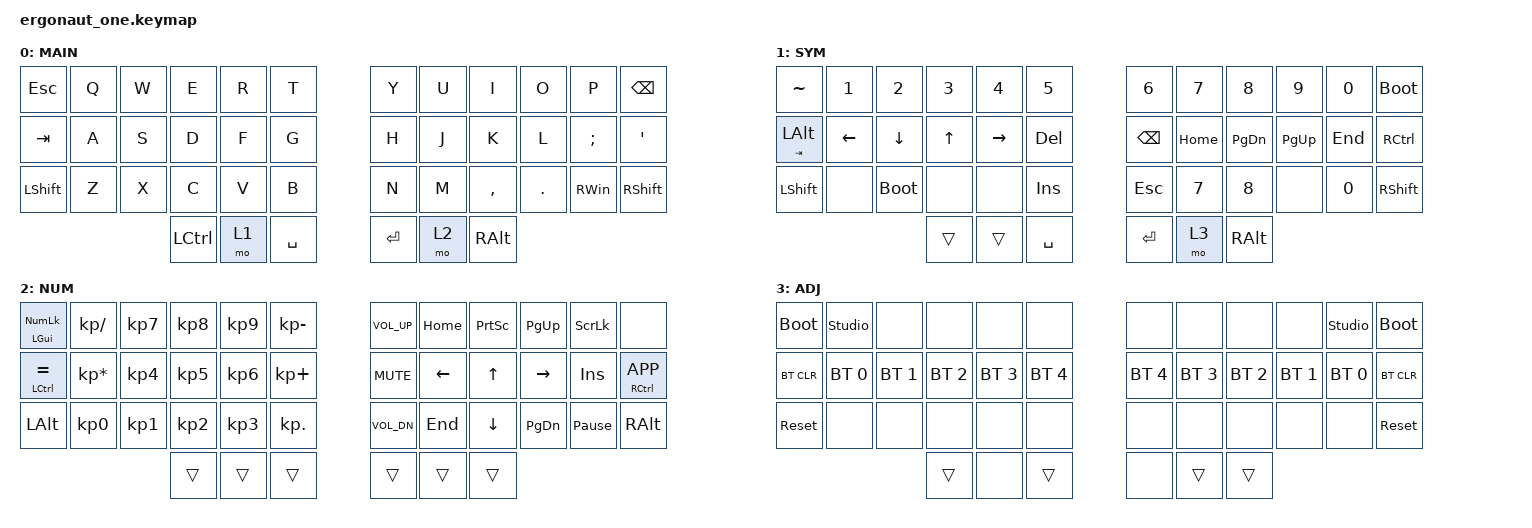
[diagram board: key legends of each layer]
#include <behaviors.dtsi>
#include <dt-bindings/zmk/bt.h>
#include <dt-bindings/zmk/keys.h>

#define DEF 0
#define LWR 1
#define RSE 2
#define ADJ 3

&lt { quick-tap-ms = <200>; };

&mt { quick-tap-ms = <200>; };

/ {
    conditional_layers { compatible = "zmk,conditional-layers"; };

    keymap {
        compatible = "zmk,keymap";

        default_layer {
            display-name = "MAIN";
            bindings = <
&kp ESC     &kp Q  &kp W  &kp E      &kp R  &kp T      &kp Y      &kp U  &kp I          &kp O    &kp P          &kp BACKSPACE
&kp TAB     &kp A  &kp S  &kp D      &kp F  &kp G      &kp H      &kp J  &kp K          &kp L    &kp SEMI       &kp SINGLE_QUOTE
&kp LSHIFT  &kp Z  &kp X  &kp C      &kp V  &kp B      &kp N      &kp M  &kp COMMA      &kp DOT  &kp RIGHT_WIN  &kp RSHIFT
                          &kp LCTRL  &mo 1  &kp SPACE  &kp ENTER  &mo 2  &kp RIGHT_ALT
            >;
        };

        lower_layer {
            display-name = "SYM";
            bindings = <
&kp TILDE         &kp NUMBER_1    &kp NUMBER_2    &kp NUMBER_3  &kp NUMBER_4  &kp N5      &kp NUMBER_6   &kp N7    &kp N8         &kp N9       &kp N0   &bootloader
&mt TAB LEFT_ALT  &kp LEFT_ARROW  &kp DOWN_ARROW  &kp UP_ARROW  &kp RIGHT     &kp DELETE  &kp BACKSPACE  &kp HOME  &kp PAGE_DOWN  &kp PAGE_UP  &kp END  &kp RCTRL
&kp LSHIFT        &none           &bootloader     &none         &none         &kp INSERT  &kp ESCAPE     &kp N7    &kp N8         &none        &kp N0   &kp RSHIFT
                                                  &trans        &trans        &kp SPACE   &kp ENTER      &mo 3     &kp RIGHT_ALT
            >;
        };

        raise_layer {
            display-name = "NUM";
            bindings = <
&mt LGUI KP_NUM  &kp KP_SLASH     &kp KP_N7  &kp KP_N8  &kp KP_N9  &kp KP_MINUS  &kp C_VOL_UP  &kp HOME  &kp PSCRN  &kp PG_UP  &kp SLCK         &none
&mt LCTRL EQUAL  &kp KP_MULTIPLY  &kp KP_N4  &kp KP_N5  &kp KP_N6  &kp KP_PLUS   &kp C_MUTE    &kp LEFT  &kp UP     &kp RIGHT  &kp INS          &mt RCTRL K_APP
&kp LALT         &kp KP_N0        &kp KP_N1  &kp KP_N2  &kp KP_N3  &kp KP_DOT    &kp C_VOL_DN  &kp END   &kp DOWN   &kp PG_DN  &kp PAUSE_BREAK  &kp RALT
                                             &trans     &trans     &trans        &trans        &trans    &trans
            >;
        };

        adjust_layer {
            display-name = "ADJ";
            bindings = <
&bootloader  &studio_unlock  &none         &none         &none         &none         &none         &none         &none         &none         &studio_unlock  &bootloader
&bt BT_CLR   &bt BT_SEL 0    &bt BT_SEL 1  &bt BT_SEL 2  &bt BT_SEL 3  &bt BT_SEL 4  &bt BT_SEL 4  &bt BT_SEL 3  &bt BT_SEL 2  &bt BT_SEL 1  &bt BT_SEL 0    &bt BT_CLR
&sys_reset   &none           &none         &none         &none         &none         &none         &none         &none         &none         &none           &sys_reset
                                           &trans        &none         &trans        &none         &trans        &trans
            >;
        };
    };
};
